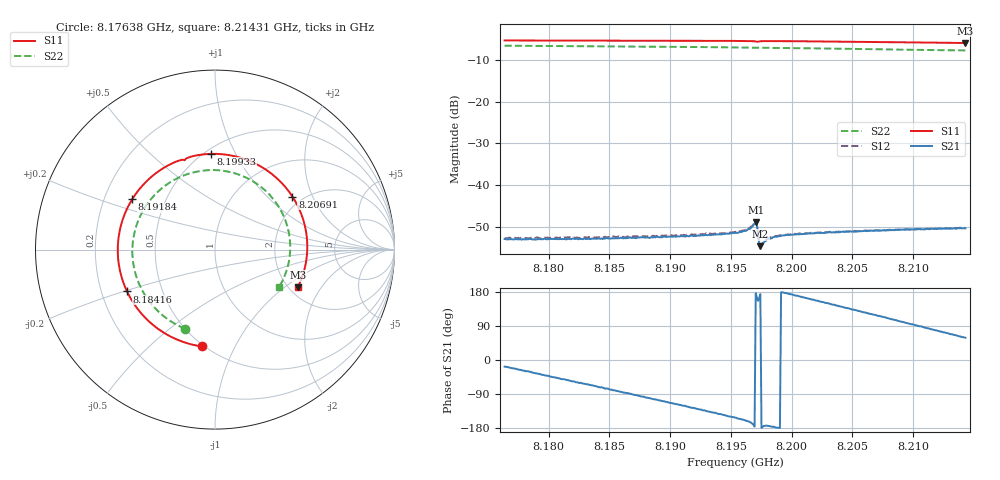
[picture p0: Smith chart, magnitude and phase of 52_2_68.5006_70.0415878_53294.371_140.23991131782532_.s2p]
#  HZ  S  RI  R  50.00
! Rohde & Schwarz Vector Network Analyzer
! Rohde-Schwarz,ZNB20-2Port,1311601062101988,3.16
! Created: UTC 3/20/2024, 5:06:02 PM
! freq[Hz]  re:S11  im:S11  re:S21  im:S21  re:S12  im:S12  re:S22  im:S22
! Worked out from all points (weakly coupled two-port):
!   401 points, 8.17638 GHz to 8.21431 GHz, reference 50 ohm
!   highest |S21| = -48.93 dB at 8.19705 GHz (marker M1); lowest = -54.6 dB at 8.19743 GHz (marker M2)
!   lowest |S11| = -5.9 dB at 8.21431 GHz (marker M3), VSWR 3.06, Z = 111 - j62.9 ohm
!   |S11| at or under -10 dB: nowhere
!   |S22| runs from -7.7 to -6.5 dB; largest |S21 - S12| = 0.00018
!   S11 on the Smith chart (normalised r, x): 8.17638 GHz: 0.49, -0.75; 8.18416 GHz: 0.31, -0.20; 8.19184 GHz: 0.32, +0.25; 8.19933 GHz: 0.54, +0.80; 8.20691 GHz: 1.77, +1.44; 8.21431 GHz: 2.22, -1.26
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8.176382e9  -0.075 -0.5391  0.00216 -0.000675  0.00221 -0.000696  -0.1663 -0.4408
8.179416e9  -0.2714 -0.4712  0.00177 -0.0014  0.0018 -0.00145  -0.3105 -0.3496
8.182734e9  -0.4402 -0.3181  0.00109 -0.00199  0.0011 -0.00207  -0.4189 -0.2001
8.184156e9  -0.4902 -0.2329  0.000732 -0.00217  0.00073 -0.00227  -0.4455 -0.1255
8.186622e9  -0.5378 -0.0686  6.19e-05 -0.00234  -1.4e-06 -0.0024  -0.4602 0.0102
8.189087e9  -0.5314 0.1029  -0.000682 -0.00227  -0.00075 -0.00237  -0.4342 0.1445
8.191836e9  -0.4609 0.2812  -0.00147 -0.00199  -0.00156 -0.00204  -0.3599 0.2773
8.195344e9  -0.2876 0.4541  -0.00235 -0.00124  -0.00249 -0.00118  -0.2076 0.3988
8.196387e9  -0.2214 0.4883  -0.00278 -0.000942  -0.00285 -0.000844  -0.1534 0.4208
8.196956e9  -0.1803 0.5004  -0.00343 -0.000254  -0.00354 -0.000152  -0.1225 0.4297
8.197051e9  -0.1734 0.4997  -0.00357 0.000229  -0.00362 0.000371  -0.1173 0.4308
8.19743e9  -0.1586 0.5082  -0.00184 0.0002  -0.00189 0.000274  -0.0966 0.4354
8.197525e9  -0.152 0.5115  -0.00189 -2.64e-05  -0.00194 5.26e-05  -0.0914 0.4365
8.198284e9  -0.0977 0.5258  -0.00229 -0.000188  -0.00236 -0.000106  -0.0488 0.4421
8.199327e9  -0.0239 0.5332  -0.00249 8.07e-05  -0.00251 0.000194  0.0104 0.4425
8.201697e9  0.1417 0.5117  -0.00246 0.00093  -0.00244 0.00102  0.1422 0.4144
8.204162e9  0.2977 0.4355  -0.00212 0.00176  -0.00205 0.00185  0.2645 0.3428
8.206912e9  0.4317 0.2949  -0.00138 0.0025  -0.00128 0.00258  0.3666 0.219
8.208049e9  0.4702 0.2238  -0.000945 0.00274  -0.000849 0.00278  0.3942 0.1573
8.209661e9  0.5046 0.1144  -0.000312 0.00291  -0.000249 0.00293  0.4164 0.0633
8.211178e9  0.5142 0.00647  0.000326 0.00297  0.000373 0.00299  0.4171 -0.0288
8.214307e9  0.4615 -0.2103  0.00157 0.00259  0.00166 0.0026  0.3553 -0.2111
